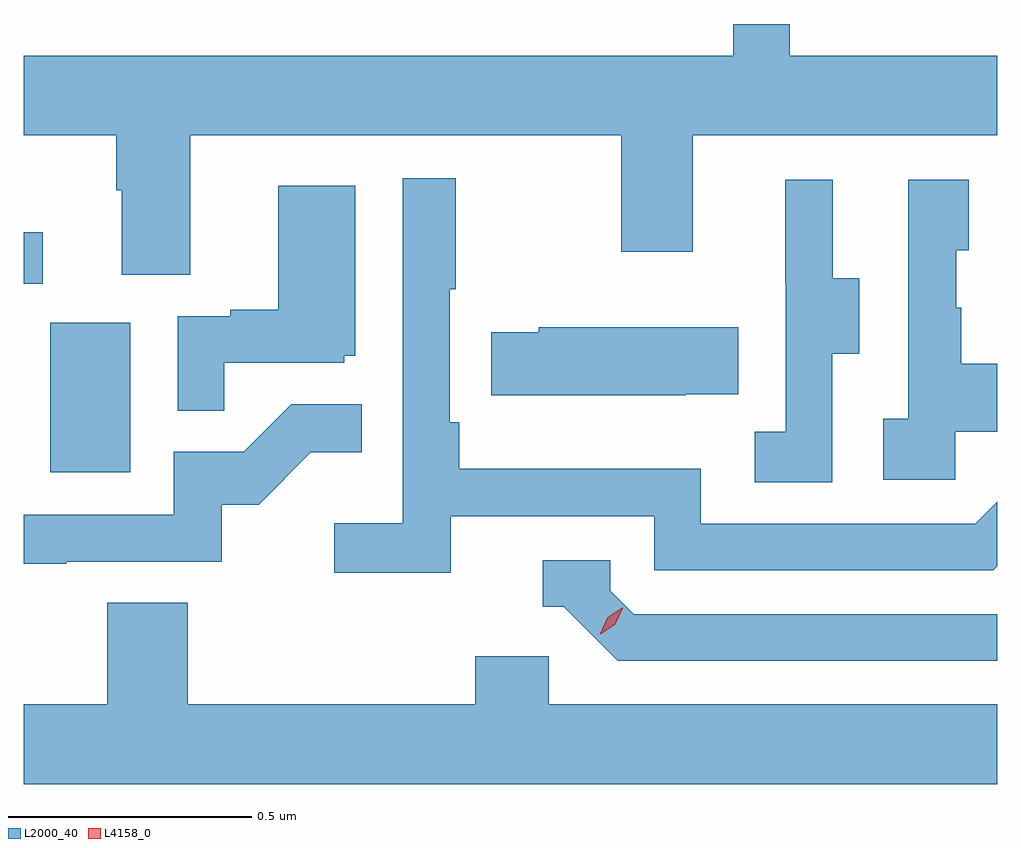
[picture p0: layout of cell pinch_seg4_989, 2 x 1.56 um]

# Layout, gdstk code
import gdstk
lib = gdstk.Library(unit=1e-6, precision=1e-09)
def R(c, l, rs):  # rectangles x0, y0, x1, y1
    for r in rs: c.add(gdstk.rectangle(r[:2], r[2:], *l))
def P(c, l, *ps):  # polygons
    for p in ps: c.add(gdstk.Polygon(p, *l))
L2000_40 = (2000, 40)
L4158_0 = (4158, 0)

pinch_seg4_989 = lib.new_cell('pinch_seg4_989')
R(pinch_seg4_989, L2000_40, [(861.068,786.804,861.232,787.111), (861.013,787.191,861.052,787.297)])
P(pinch_seg4_989, L2000_40, [(861.355,787.496),(862.24,787.496),(862.24,787.257),(862.387,787.257),(862.387,787.496),(863.013,787.496),(863.013,787.66),(862.587,787.66),(862.587,787.725),(862.471,787.725),(862.471,787.66),(861.013,787.66),(861.013,787.496),(861.203,787.496),(861.203,787.384),(861.215,787.384),(861.215,787.21),(861.355,787.21)],
  [(861.89,786.714),(862.308,786.714),(862.308,786.603),(863.005,786.603),(863.013,786.611),(863.013,786.744),(862.968,786.699),(862.404,786.699),(862.404,786.811),(861.908,786.811),(861.908,786.907),(861.888,786.907),(861.888,787.18),(861.901,787.18),(861.901,787.408),(861.792,787.408),(861.792,786.7),(861.651,786.7),(861.651,786.598),(861.89,786.598)],
  [(862.926,786.887),(863.013,786.887),(863.013,787.027),(862.939,787.027),(862.939,787.142),(862.929,787.142),(862.929,787.26),(862.954,787.26),(862.954,787.405),(862.83,787.405),(862.83,786.914),(862.779,786.914),(862.779,786.789),(862.926,786.789)],
  [(862.674,787.048),(862.729,787.048),(862.729,787.203),(862.675,787.203),(862.675,787.405),(862.577,787.405),(862.577,787.191),(862.578,787.191),(862.578,786.887),(862.515,786.887),(862.515,786.784),(862.674,786.784)],
  [(861.425,787.029),(861.672,787.029),(861.672,787.044),(861.694,787.044),(861.694,787.393),(861.536,787.393),(861.536,787.138),(861.437,787.138),(861.437,787.125),(861.33,787.125),(861.33,786.931),(861.425,786.931)],
  [(862.373,786.965),(862.481,786.965),(862.481,787.102),(862.071,787.102),(862.071,787.092),(861.973,787.092),(861.973,786.962),(862.373,786.962)],
  [(861.101,786.621),(861.42,786.621),(861.42,786.738),(861.496,786.738),(861.603,786.845),(861.707,786.845),(861.707,786.944),(861.563,786.944),(861.465,786.846),(861.321,786.846),(861.321,786.717),(861.013,786.717),(861.013,786.616),(861.101,786.616)],
  [(863.013,786.513),(862.266,786.513),(862.218,786.561),(862.218,786.624),(862.079,786.624),(862.079,786.528),(862.122,786.528),(862.233,786.417),(863.013,786.417)],
  [(863.013,786.328),(862.092,786.328),(862.092,786.426),(861.941,786.426),(861.941,786.328),(861.35,786.328),(861.35,786.536),(861.185,786.536),(861.185,786.328),(861.013,786.328),(861.013,786.164),(863.013,786.164)])
P(pinch_seg4_989, L4158_0, [(862.197,786.472),(862.197,786.473),(862.213,786.506),(862.243,786.526),(862.244,786.526),(862.244,786.525),(862.228,786.492),(862.198,786.472)])

lib.write_gds('pinch_seg4_989.gds')
